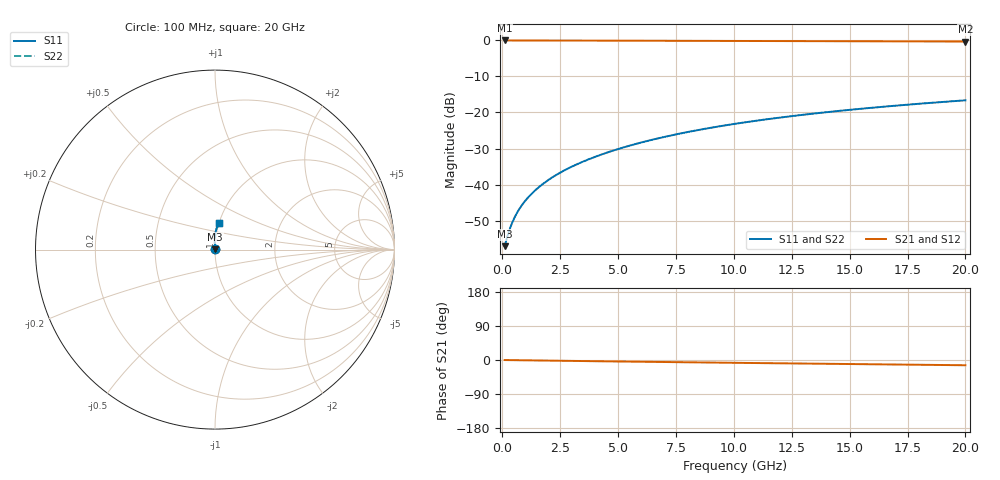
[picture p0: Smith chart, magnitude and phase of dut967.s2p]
! Touchstone file exported from HFSS 2024.1.0
!  File:  C:/UserFiles/LocalFiles/RDL_TSV_Batchsim/temp_RDL_top_967_1779938687.aedt
!  Generated:  11:27:02 AM May 28, 2026
!  Design:  RDL_top
!  Project:  temp_RDL_top_967_1779938687
!  Setup:  Setup1
!  Solution:  Sweep
! Variables:
!  dtsv = 10.80580581um
!  hbump = 3um
!  htsv = 66.36um
!  ldown = 100um
!  lrdl = 162.68um
!  p = 40
!  p1 = 54.11um
!  rhole = 1um
!  t = 450um
!  tdown = 3.915915916um
!  trdl = 2.37um
!  wdown = 15.38538539um
!  wrdl = 29.25um
# GHz S MA R 50.000000
! Terminal data exported
! Port[1] = Box2_T1
! Port[2] = Box2_T2
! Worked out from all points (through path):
!   200 points, 100 MHz to 20 GHz, reference 50 ohm
!   highest |S21| = -0.01 dB at 100 MHz (marker M1); lowest = -0.3 dB at 20 GHz (marker M2)
!   group delay of S21, straight-line fit = 1.9 ps
!   lowest |S11| = -57.1 dB at 100 MHz (marker M3), VSWR 1.00, Z = 50.1 + j0.0648 ohm
!   |S11| at or under -10 dB: start of sweep to end of sweep
!   |S22| runs from -57.1 to -16.6 dB; largest |S21 - S12| = 2.4e-15
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0.1  0.001397 27.6  0.9988 -0.1  0.9988 -0.1  0.001397 27.6
! Gamma 0 0 0 0
! Port Impedance 50 0 50 0
0.3  0.002299 54.9  0.9986 -0.3  0.9986 -0.3  0.002299 54.9
0.4  0.002817 61.1  0.9986 -0.3  0.9986 -0.3  0.002817 61.1
0.5  0.00334 65.3  0.9985 -0.4  0.9985 -0.4  0.00334 65.3
0.6  0.003865 68.6  0.9984 -0.5  0.9984 -0.5  0.003865 68.6
0.8  0.004923 73.3  0.9983 -0.7  0.9983 -0.7  0.004923 73.3
1  0.005998 76.6  0.9981 -0.8  0.9981 -0.8  0.005998 76.6
1.2  0.007091 79.2  0.9979 -1.0  0.9979 -1.0  0.007091 79.2
1.7  0.009901 83.5  0.9975 -1.4  0.9975 -1.4  0.009901 83.5
2.2  0.01282 86.3  0.9969 -1.8  0.9969 -1.8  0.01282 86.3
2.8  0.01646 88.6  0.9961 -2.3  0.9961 -2.3  0.01646 88.6
3.5  0.0209 90.4  0.995 -2.8  0.995 -2.8  0.0209 90.4
4.2  0.02555 91.6  0.9937 -3.3  0.9937 -3.3  0.02555 91.6
5  0.0311 92.4  0.9922 -3.9  0.9922 -3.9  0.0311 92.4
5.9  0.0376 92.7  0.9904 -4.6  0.9904 -4.6  0.0376 92.7
6.8  0.04432 92.7  0.9885 -5.2  0.9885 -5.2  0.04432 92.7
8.4  0.05664 92.1  0.9853 -6.3  0.9853 -6.3  0.05664 92.1
10.1  0.07003 90.9  0.9821 -7.5  0.9821 -7.5  0.07003 90.9
11.7  0.08273 89.6  0.9792 -8.5  0.9792 -8.5  0.08273 89.6
13.4  0.09621 88.1  0.9762 -9.6  0.9762 -9.6  0.09622 88.1
16.7  0.1221 85.2  0.9706 -11.8  0.9706 -11.8  0.1221 85.2
20  0.1475 82.3  0.9651 -13.9  0.9651 -13.9  0.1475 82.3
